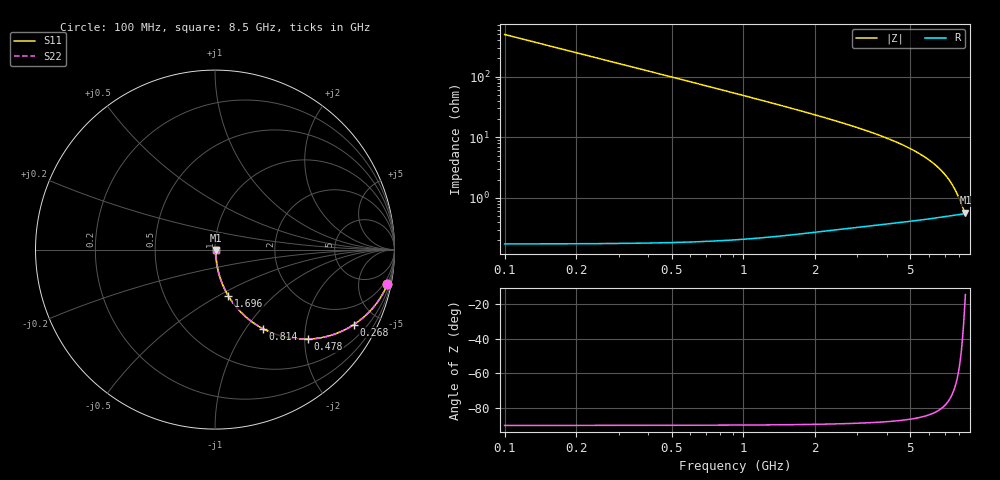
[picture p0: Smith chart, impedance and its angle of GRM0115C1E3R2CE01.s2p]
!Murata Part Number: GRM0115C1E3R2CE01
!These Parameters are Measured in Series Mode Connection
!Data Generated on Mar 30, 2021
!  o--ll--o
!Port1  Port2
!  o------o
!Operation Temp=25[degC], DC Bias Voltage=0[V]
!Freq. Start=100[MHz] Stop=9[GHz] 401[Steps]
# Hz S RI R 50
!Freq.(Hz) S11(Real) S11(Imag) S21(Real) S21(Imag) S12(Real) S12(Imag) S22(Real) S22(Imag)
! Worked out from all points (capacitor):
!   401 points, 100 MHz to 8.5 GHz, reference 50 ohm
!   read as one part in series: C = 3.2 pF near 142 MHz
!   lowest |Z| = 570 mohm at 8.5 GHz (marker M1)
!   S11 on the Smith chart (normalised r, x): 100 MHz: 1.00, -9.95; 268 MHz: 1.00, -3.71; 478 MHz: 1.00, -2.07; 814 MHz: 1.00, -1.21; 1.696 GHz: 1.01, -0.56; 8.5 GHz: 1.01, -0.00
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1e8  0.9611 -0.1933  0.0389 0.1933  0.0389 0.1933  0.9611 -0.1933
1.42e8  0.9245 -0.264  0.0755 0.264  0.0755 0.264  0.9245 -0.264
2.05e8  0.8544 -0.3523  0.1456 0.3523  0.1456 0.3523  0.8544 -0.3523
2.68e8  0.7744 -0.4175  0.2256 0.4175  0.2256 0.4175  0.7744 -0.4175
3.73e8  0.6389 -0.4797  0.3611 0.4797  0.3611 0.4797  0.6389 -0.4797
4.78e8  0.5181 -0.4988  0.4819 0.4988  0.4819 0.4988  0.5181 -0.4988
6.46e8  0.3695 -0.4814  0.6305 0.4814  0.6305 0.4814  0.3695 -0.4814
8.14e8  0.2685 -0.4416  0.7315 0.4416  0.7315 0.4416  0.2685 -0.4416
9.61e8  0.2076 -0.4036  0.7924 0.4036  0.7924 0.4036  0.2076 -0.4036
1.108e9  0.1638 -0.3676  0.8362 0.3676  0.8362 0.3676  0.1638 -0.3676
1.507e9  0.0941 -0.2882  0.9059 0.2882  0.9059 0.2882  0.0941 -0.2882
1.696e9  0.0751 -0.259  0.9249 0.259  0.9249 0.259  0.0751 -0.259
2.242e9  0.0431 -0.1962  0.9569 0.1962  0.9569 0.1962  0.0431 -0.1962
2.914e9  0.025 -0.1457  0.975 0.1457  0.975 0.1457  0.025 -0.1457
4.3e9  0.011 -0.0845  0.989 0.0845  0.989 0.0845  0.011 -0.0845
5.707e9  0.00664 -0.0475  0.9934 0.0475  0.9934 0.0475  0.00664 -0.0475
6.484e9  0.00573 -0.0321  0.9943 0.0321  0.9943 0.0321  0.00573 -0.0321
7.114e9  0.00541 -0.0214  0.9946 0.0214  0.9946 0.0214  0.00541 -0.0214
7.681e9  0.00534 -0.0127  0.9947 0.0127  0.9947 0.0127  0.00534 -0.0127
7.933e9  0.00536 -0.00909  0.9946 0.00909  0.9946 0.00909  0.00536 -0.00909
8.332e9  0.00544 -0.00363  0.9946 0.00363  0.9946 0.00363  0.00544 -0.00363
8.5e9  0.00549 -0.00142  0.9945 0.00142  0.9945 0.00142  0.00549 -0.00142
